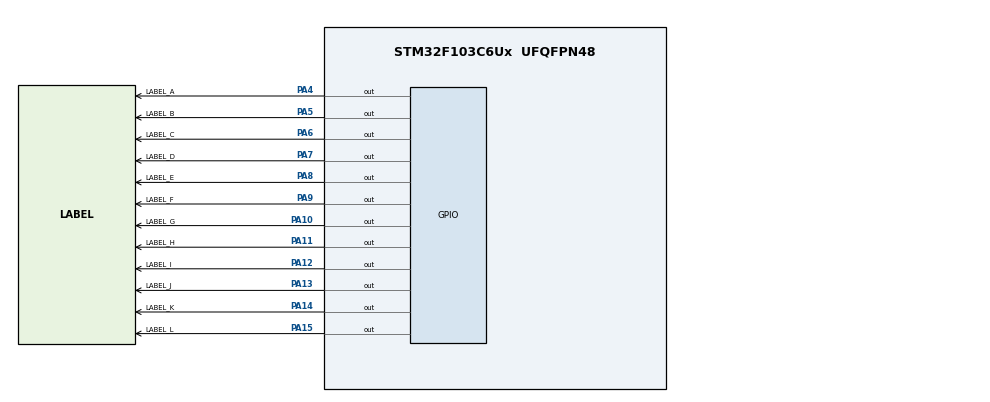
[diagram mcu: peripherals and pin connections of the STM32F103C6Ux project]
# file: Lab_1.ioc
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Mcu.Family=STM32F1
Mcu.Name=STM32F103C6Ux
Mcu.Package=UFQFPN48
NVIC.PriorityGroup=NVIC_PRIORITYGROUP_4
PA10.GPIO_Label=LABEL_G
PA10.Signal=GPIO_Output
PA11.GPIO_Label=LABEL_H
PA11.Signal=GPIO_Output
PA12.GPIO_Label=LABEL_I
PA12.Signal=GPIO_Output
PA13.GPIO_Label=LABEL_J
PA13.Signal=GPIO_Output
PA14.GPIO_Label=LABEL_K
PA14.Signal=GPIO_Output
PA15.GPIO_Label=LABEL_L
PA15.Signal=GPIO_Output
PA4.GPIO_Label=LABEL_A
PA4.Signal=GPIO_Output
PA5.GPIO_Label=LABEL_B
PA5.Signal=GPIO_Output
PA6.GPIO_Label=LABEL_C
PA6.Signal=GPIO_Output
PA7.GPIO_Label=LABEL_D
PA7.Signal=GPIO_Output
PA8.GPIO_Label=LABEL_E
PA8.Signal=GPIO_Output
PA9.GPIO_Label=LABEL_F
PA9.Signal=GPIO_Output
ProjectManager.HeapSize=0x200
ProjectManager.StackSize=0x400
ProjectManager.TargetToolchain=STM32CubeIDE
RCC.APB1Freq_Value=8000000
RCC.APB2Freq_Value=8000000
VP_SYS_VS_ND.Mode=No_Debug
board=custom

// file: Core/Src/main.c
/* USER CODE BEGIN Header */
/**
 ******************************************************************************
 * @file           : main.c
 * @brief          : Main program body
 ******************************************************************************
 * @attention
 *
 * <h2><center>&copy; Copyright (c) 2022 STMicroelectronics.
 * All rights reserved.</center></h2>
 *
 * This software component is licensed by ST under BSD 3-Clause license,
 * the "License"; You may not use this file except in compliance with the
 * License. You may obtain a copy of the License at:
 *                        opensource.org/licenses/BSD-3-Clause
 *
 ******************************************************************************
 */
/* USER CODE END Header */
#include "main.h"

void SystemClock_Config(void);
static void MX_GPIO_Init(void);

int main(void)
{

  /* MCU Configuration--------------------------------------------------------*/

  /* Reset of all peripherals, Initializes the Flash interface and the Systick. */
  HAL_Init();

  /* USER CODE BEGIN Init */
	void clearAllClock() {
		GPIOA->ODR |= 0xFFF0;
	}
  /* USER CODE END Init */

  /* Configure the system clock */
  SystemClock_Config();

  /* Initialize all configured peripherals */
  MX_GPIO_Init();
  /* USER CODE BEGIN 2 */
	void setNumberOnClock(int num) {
		switch (num) {
		case 0: {
			HAL_GPIO_WritePin(LABEL_B_GPIO_Port, LABEL_B_Pin, RESET);
			break;
		}
		case 1: {
			HAL_GPIO_WritePin(LABEL_C_GPIO_Port, LABEL_C_Pin, RESET);
			break;
		}
		case 2: {
			HAL_GPIO_WritePin(LABEL_D_GPIO_Port, LABEL_D_Pin, RESET);
			break;
		}
		case 3: {
			HAL_GPIO_WritePin(LABEL_E_GPIO_Port, LABEL_E_Pin, RESET);
			break;
		}
		case 4: {
			HAL_GPIO_WritePin(LABEL_F_GPIO_Port, LABEL_F_Pin, RESET);
			break;
		}
		case 5: {
			HAL_GPIO_WritePin(LABEL_G_GPIO_Port, LABEL_G_Pin, RESET);
			break;
		}
		case 6: {
			HAL_GPIO_WritePin(LABEL_H_GPIO_Port, LABEL_H_Pin, RESET);
			break;
		}
		case 7: {
			HAL_GPIO_WritePin(LABEL_I_GPIO_Port, LABEL_I_Pin, RESET);
			break;
		}
		case 8: {
			HAL_GPIO_WritePin(LABEL_J_GPIO_Port, LABEL_J_Pin, RESET);
			break;
		}
		case 9: {
			HAL_GPIO_WritePin(LABEL_K_GPIO_Port, LABEL_K_Pin, RESET);
			break;
		}
		case 10: {
			HAL_GPIO_WritePin(LABEL_L_GPIO_Port, LABEL_L_Pin, RESET);
			break;
		}
		case 11: {
			HAL_GPIO_WritePin(LABEL_A_GPIO_Port, LABEL_A_Pin, RESET);
			break;
		}
		default:
			break;
		}
	}

  /* USER CODE END 2 */

  /* Infinite loop */
  /* USER CODE BEGIN WHILE */

// 	init turn of sate for each led using output data register
	GPIOA->ODR = 0xFFF0;
//	init sec min hour counter value
	int sec_counter = 0;
	int min_counter = 0;
	int hour_counter = 0;
// init count down value for sec and minute
	int count_down_sec = 5;
	int count_down_min = 5;
	while (1) {
//		calculate counter logic for sec, min and hour
		if (sec_counter >= 12) {
			count_down_min--;
			sec_counter = 0;
		}
		if(count_down_min <= 0){ //after sec run 5cycles, increase minute one unit
			count_down_min = 5;
			min_counter++;
		}
		if (min_counter >= 12) {
			hour_counter++;
			min_counter = 0;
		}
		if (hour_counter >= 12) {
			hour_counter = 0;
		}

//		clear all led and set value to display led
		clearAllClock();
		setNumberOnClock(sec_counter);
		setNumberOnClock(min_counter);
		setNumberOnClock(hour_counter);

//  	after 5sec in real time increase sec_counter one unit
//		so that, affter 5sec*12 = 60sec is one minute
		count_down_sec--;
		if (count_down_sec <= 0) {
			sec_counter++;
			count_down_sec = 5;
		}

		HAL_Delay(1000);
    /* USER CODE END WHILE */

	}
}

void SystemClock_Config(void)
{
  RCC_OscInitTypeDef RCC_OscInitStruct = {0};
  RCC_ClkInitTypeDef RCC_ClkInitStruct = {0};

  /** Initializes the RCC Oscillators according to the specified parameters
  * in the RCC_OscInitTypeDef structure.
  */
  RCC_OscInitStruct.OscillatorType = RCC_OSCILLATORTYPE_HSI;
  RCC_OscInitStruct.HSIState = RCC_HSI_ON;
  RCC_OscInitStruct.HSICalibrationValue = RCC_HSICALIBRATION_DEFAULT;
  RCC_OscInitStruct.PLL.PLLState = RCC_PLL_NONE;
  if (HAL_RCC_OscConfig(&RCC_OscInitStruct) != HAL_OK)
  {
    Error_Handler();
  }
  /** Initializes the CPU, AHB and APB buses clocks
  */
  RCC_ClkInitStruct.ClockType = RCC_CLOCKTYPE_HCLK|RCC_CLOCKTYPE_SYSCLK
                              |RCC_CLOCKTYPE_PCLK1|RCC_CLOCKTYPE_PCLK2;
  RCC_ClkInitStruct.SYSCLKSource = RCC_SYSCLKSOURCE_HSI;
  RCC_ClkInitStruct.AHBCLKDivider = RCC_SYSCLK_DIV1;
  RCC_ClkInitStruct.APB1CLKDivider = RCC_HCLK_DIV1;
  RCC_ClkInitStruct.APB2CLKDivider = RCC_HCLK_DIV1;

  if (HAL_RCC_ClockConfig(&RCC_ClkInitStruct, FLASH_LATENCY_0) != HAL_OK)
  {
    Error_Handler();
  }
}

static void MX_GPIO_Init(void)
{
  GPIO_InitTypeDef GPIO_InitStruct = {0};

  /* GPIO Ports Clock Enable */
  __HAL_RCC_GPIOA_CLK_ENABLE();

  /*Configure GPIO pin Output Level */
  HAL_GPIO_WritePin(GPIOA, LABEL_A_Pin|LABEL_B_Pin|LABEL_C_Pin|LABEL_D_Pin
                          |LABEL_E_Pin|LABEL_F_Pin|LABEL_G_Pin|LABEL_H_Pin
                          |LABEL_I_Pin|LABEL_J_Pin|LABEL_K_Pin|LABEL_L_Pin, GPIO_PIN_RESET);

  /*Configure GPIO pins : LABEL_A_Pin LABEL_B_Pin LABEL_C_Pin LABEL_D_Pin
                           LABEL_E_Pin LABEL_F_Pin LABEL_G_Pin LABEL_H_Pin
                           LABEL_I_Pin LABEL_J_Pin LABEL_K_Pin LABEL_L_Pin */
  GPIO_InitStruct.Pin = LABEL_A_Pin|LABEL_B_Pin|LABEL_C_Pin|LABEL_D_Pin
                          |LABEL_E_Pin|LABEL_F_Pin|LABEL_G_Pin|LABEL_H_Pin
                          |LABEL_I_Pin|LABEL_J_Pin|LABEL_K_Pin|LABEL_L_Pin;
  GPIO_InitStruct.Mode = GPIO_MODE_OUTPUT_PP;
  GPIO_InitStruct.Pull = GPIO_NOPULL;
  GPIO_InitStruct.Speed = GPIO_SPEED_FREQ_LOW;
  HAL_GPIO_Init(GPIOA, &GPIO_InitStruct);

}

void Error_Handler(void)
{
	__disable_irq();
	while (1) {
	}
}

/************************ (C) COPYRIGHT STMicroelectronics *****END OF FILE****/
